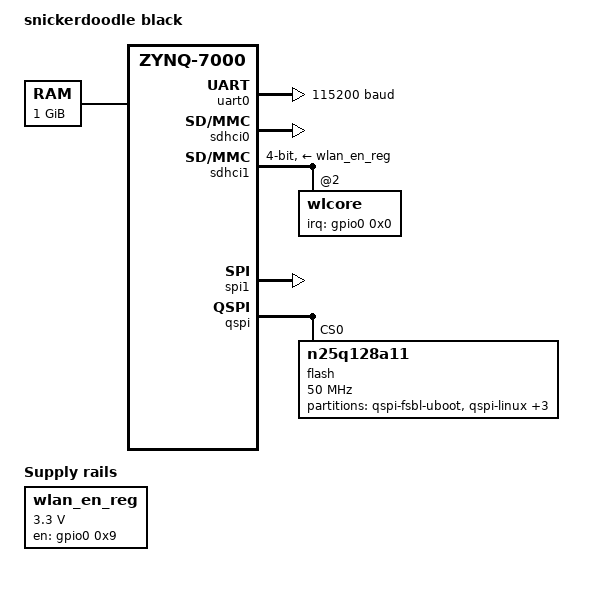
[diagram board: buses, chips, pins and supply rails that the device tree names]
/**
 * Copyright (c) 2016 krtkl inc.
 *
 * snickerdoodle black base device tree source
 *
 * This program is free software; you can redistribute it and/or modify it
 * under the terms of the GNU General Public License version 2 as published by
 * the Free Software Foundation.
 */

/dts-v1/;
/include/ "zynq-7000.dtsi"
/ {
        model = "snickerdoodle black";
        compatible = "xlnx,zynq-snickerdoodle-black", "xlnx,zynq-7000";

	cpus {
		cpu@0 {
			operating-points = <
				/* kHz	uV */
				866666	1000000
				433333	1000000
			>;
		};
	};

	chosen {
		bootargs =		"console=ttyPS0,115200n8 earlyprintk ramdisk_size=0x8F0000";
		linux,stdout-path =	&uart0;
		stdout-path =		&uart0;
	};

	aliases {
		serial0 =		&uart0;
		spi0 =			&qspi;
		mmc0 =			&sdhci0;
		mmc1 =			&sdhci1;
	};

	memory {
		device_type =		"memory";
		reg =			<0x0 0x40000000>;
	};

        wlan_en_reg: fixed-regulator-wlen {
                compatible =			"regulator-fixed";
                regulator-name =		"wlan-en-regulator";
                regulator-min-microvolt =	<0x325aa0>;		/* Specified as 3.3V for driver, actually 1.8V */
                regulator-max-microvolt =	<0x325aa0>;
                gpio =				<&gpio0 0x9 0x4>;	/* WLAN_EN GPIO 9 */
                startup-delay-us =		<0x11170>;
                enable-active-high;
        };
};

&intc {
	num_cpus =		<2>;
	num_interrupts =	<96>;
};

&clkc {
	fclk-enable =		<0x1>;
	ps-clk-frequency =	<33333333>;
};


&gpio0 {
	interrupt-controller;
	#interrupt-cells =	<0x2>;
	emio-gpio-width =	<0x40>;
	gpio-mask-high =	<0x0>;
	gpio-mask-low =		<0x5600>;
	xlnx,emio-gpio-width =	<0x40>;
	xlnx,mio-gpio-mask =	<0x5600>;
};

&uart0 {
	u-boot,dm-pre-reloc;
	status =		"okay";
	interrupt-parent =	<&intc>;
	xlnx,has-modem =	<0x0>;
	current-speed =		<0x1c200>;	/* 115200 */
	device_type =		"serial";
	port-number =		<0x0>;
};

&sdhci0 {
	u-boot,dm-pre-reloc;
	status =		"okay";
};

&sdhci1 {
	u-boot,dm-pre-reloc;
	status =		"okay";
	vmmc-supply =		<&wlan_en_reg>;
	bus-width =		<0x4>;
	cap-power-off-card;
	keep-power-in-suspend;
	#address-cells =	<0x1>;
	#size-cells =		<0x0>;
	
	wlcore: wlcore@0 {
		compatible =		"wlcore", "ti,wl1837";
		reg =			<2>;
		interrupt-parent =	<&gpio0>;
		interrupts =		<0x0 0x4>;
	};
};

&spi1 {
	u-boot,dm-pre-reloc;
	status =		"okay";
	num-cs =		<0x1>;
	is-decoded-cs =		<0x0>;	
};

&qspi {
	u-boot,dm-pre-reloc;
	status =		"okay";
	is-dual =		<0x0>;
	num-cs =		<0x1>;
	xlnx,qspi-mode =	<0x1>;

	flash@0 {
		compatible =		"n25q128a11";
		reg =			<0x0>;
		spi-tx-bus-width =	<0x1>;
		spi-rx-bus-width =	<0x4>;
		spi-max-frequency =	<50000000>;
		#address-cells =	<0x1>;
		#size-cells =		<0x1>;
		
		partition@qspi-fsbl-uboot {
			label =		"qspi-fsbl-uboot";
			reg =		<0x0 0x80000>;
		};

		partition@qspi-linux {
			label =		"qspi-linux";
			reg =		<0x80000 0x400000>;
		};

		partition@qspi-device-tree {
			label =		"qspi-device-tree";
			reg =		<0x480000 0x10000>;
		};

		partition@qspi-rootfs {
			label =		"qspi-rootfs";
			reg =		<0x490000 0x8f0000>;
		};

		partition@qspi-bitstream {
			label =		"qspi-bitstream";
			reg =		<0xd80000 0x280000>;
		};
	};
};

/ {
	__symbols__ {
		regulator_vccpint =	&regulator_vccpint;
		wlan_en_reg =		&wlan_en_reg;
		amba =			&amba;
		adc =			&adc;
		can0 =			&can0;
		can1 =			&can1;
		gpio0 =			&gpio0;
		i2c0 =			&i2c0;
		i2c1 =			&i2c1;
		intc =			&intc;
		L2 =			&L2;
		mc =			&mc;
		ocmc =			&ocmc;
		uart0 =			&uart0;
		uart1 =			&uart1;
		spi0 =			&spi0;
		spi1 =			&spi1;
		qspi =			&qspi;
		smcc =			&smcc;
		nand0 =			&nand0;
		nor0 =			&nor0;
		gem0 =			&gem0;
		gem1 =			&gem1;
		sdhci0 =		&sdhci0;
		sdhci1 =		&sdhci1;
		wlcore =		&wlcore;
		slcr =			&slcr;
		clkc =			&clkc;
		rstc =			&rstc;
		pinctrl0 =		&pinctrl0;
		dmac_s =		&dmac_s;
		devcfg =		&devcfg;
		global_timer =		&global_timer;
		ttc0 =                  &ttc0;
		ttc1 =			&ttc1;
		scutimer =		&scutimer;
		usb0 =			&usb0;
		usb1 =			&usb1;
		watchdog0 =		&watchdog0;
	};
};

